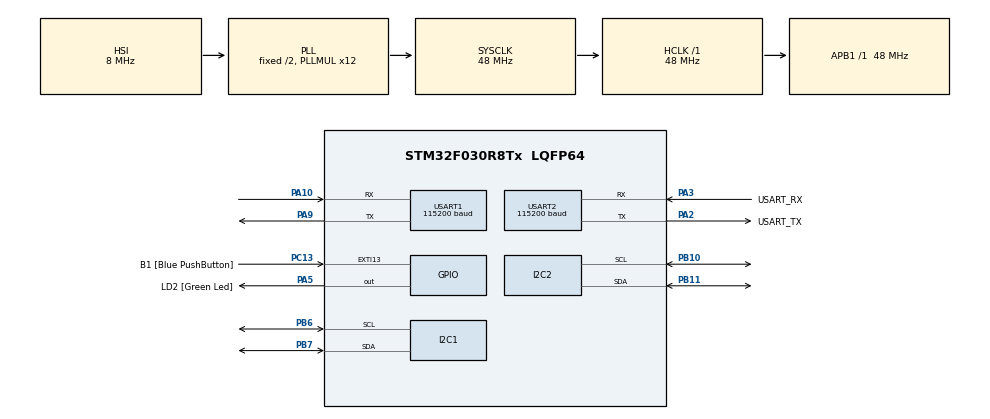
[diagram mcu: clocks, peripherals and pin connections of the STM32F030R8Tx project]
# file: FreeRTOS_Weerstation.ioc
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FREERTOS.Tasks01=sendESPtask,16,300,sendESP,Default,NULL,Dynamic,NULL,NULL;readDataTask,24,128,readData,Default,NULL,Dynamic,NULL,NULL;getESPtimeTask,32,128,getESPtime,Default,NULL,Dynamic,NULL,NULL
FREERTOS.configMINIMAL_STACK_SIZE=0x40
FREERTOS.configTOTAL_HEAP_SIZE=2694
FREERTOS.configUSE_NEWLIB_REENTRANT=0
I2C2.Timing=0x20303E5D
Mcu.Family=STM32F0
Mcu.Name=STM32F030R8Tx
Mcu.Package=LQFP64
NVIC.TIM17_IRQn=true\:3\:0\:false\:false\:true\:false\:false\:true
NVIC.TimeBase=TIM17_IRQn
NVIC.TimeBaseIP=TIM17
PA10.Mode=Asynchronous
PA10.Signal=USART1_RX
PA13.GPIO_Label=TMS
PA13.Mode=Serial_Wire
PA13.Signal=SYS_SWDIO
PA14.GPIO_Label=TCK
PA14.Mode=Serial_Wire
PA14.Signal=SYS_SWCLK
PA2.GPIO_Label=USART_TX
PA2.GPIO_Mode=GPIO_MODE_AF_PP
PA2.GPIO_PuPd=GPIO_NOPULL
PA2.GPIO_Speed=GPIO_SPEED_FREQ_LOW
PA2.Mode=Asynchronous
PA2.Signal=USART2_TX
PA3.GPIO_Label=USART_RX
PA3.GPIO_Mode=GPIO_MODE_AF_PP
PA3.GPIO_PuPd=GPIO_NOPULL
PA3.GPIO_Speed=GPIO_SPEED_FREQ_LOW
PA3.Mode=Asynchronous
PA3.Signal=USART2_RX
PA5.GPIO_Label=LD2 [Green Led]
PA5.GPIO_Mode=GPIO_MODE_OUTPUT_PP
PA5.GPIO_PuPd=GPIO_NOPULL
PA5.GPIO_Speed=GPIO_SPEED_FREQ_LOW
PA5.Signal=GPIO_Output
PA9.Mode=Asynchronous
PA9.Signal=USART1_TX
PB10.Mode=I2C
PB10.Signal=I2C2_SCL
PB11.Mode=I2C
PB11.Signal=I2C2_SDA
PB6.Mode=I2C
PB6.Signal=I2C1_SCL
PB7.Mode=I2C
PB7.Signal=I2C1_SDA
PC13.GPIO_Label=B1 [Blue PushButton]
PC13.GPIO_ModeDefaultEXTI=GPIO_MODE_IT_FALLING
PC13.Signal=GPXTI13
PC14-OSC32_IN.Mode=LSE-External-Oscillator
PC14-OSC32_IN.Signal=RCC_OSC32_IN
PC15-OSC32_OUT.Mode=LSE-External-Oscillator
PC15-OSC32_OUT.Signal=RCC_OSC32_OUT
PF0-OSC_IN.Mode=HSE-External-Oscillator
PF0-OSC_IN.Signal=RCC_OSC_IN
PF1-OSC_OUT.Mode=HSE-External-Oscillator
PF1-OSC_OUT.Signal=RCC_OSC_OUT
ProjectManager.HeapSize=0x200
ProjectManager.StackSize=0x400
ProjectManager.TargetToolchain=STM32CubeIDE
RCC.AHBFreq_Value=48000000
RCC.APB1Freq_Value=48000000
RCC.APB1TimFreq_Value=48000000
RCC.HCLKFreq_Value=48000000
RCC.PLLMUL=RCC_PLL_MUL12
RCC.SYSCLKFreq_VALUE=48000000
RCC.SYSCLKSource=RCC_SYSCLKSOURCE_PLLCLK
USART1.BaudRate=115200
USART1.VirtualMode-Asynchronous=VM_ASYNC
USART2.BaudRate=115200
USART2.VirtualMode-Asynchronous=VM_ASYNC
VP_FREERTOS_VS_CMSIS_V2.Mode=CMSIS_V2
VP_SYS_VS_tim17.Mode=TIM17
board=NUCLEO-F030R8

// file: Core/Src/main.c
/* USER CODE BEGIN Header */
/**
  ******************************************************************************
  * @file           : main.c
  * @brief          : Main program body
  ******************************************************************************
  * @attention
  *
  * <h2><center>&copy; Copyright (c) 2021 STMicroelectronics.
  * All rights reserved.</center></h2>
  *
  * This software component is licensed by ST under BSD 3-Clause license,
  * the "License"; You may not use this file except in compliance with the
  * License. You may obtain a copy of the License at:
  *                        opensource.org/licenses/BSD-3-Clause
  *
  ******************************************************************************
  */
/* USER CODE END Header */
#include "main.h"
#include "cmsis_os.h"

/* USER CODE BEGIN Includes */
#include "string.h"
#include <stdlib.h>
#include <stdio.h>
#include "bme280.h"
/* USER CODE END Includes */

/* USER CODE BEGIN PD */
int intError; // contains live error code
char NTPdateTime[] = ""; // Contains internet time
char rxData[500];
struct bme280_dev dev;
struct bme280_data comp_data;
int8_t rslt;
struct sensorWaarde sensorWaarden[10];
int iCurrentWaarde = 0;
char sTime[20];
/* USER CODE END PD */

I2C_HandleTypeDef hi2c1;
I2C_HandleTypeDef hi2c2;

UART_HandleTypeDef huart1;
UART_HandleTypeDef huart2;

/* Definitions for readDataTask */
osThreadId_t readDataTaskHandle;
const osThreadAttr_t readDataTask_attributes = {
  .name = "readDataTask",
  .stack_size = 128 * 4,
  .priority = (osPriority_t) osPriorityNormal,
};

void SystemClock_Config(void);
static void MX_GPIO_Init(void);
static void MX_USART2_UART_Init(void);
static void MX_I2C1_Init(void);
static void MX_I2C2_Init(void);
static void MX_USART1_UART_Init(void);
void sendESP();
void readData(void *argument);
void getESPtime();
void getESPtime2();
int8_t user_i2c_read(uint8_t id, uint8_t reg_addr, uint8_t *data, uint16_t len);
int8_t user_i2c_write(uint8_t id, uint8_t reg_addr, uint8_t *data, uint16_t len);
void user_delay_ms(uint32_t period);

int main(void)
{

  /* MCU Configuration--------------------------------------------------------*/

  /* Reset of all peripherals, Initializes the Flash interface and the Systick. */
  HAL_Init();

  /* USER CODE BEGIN Init */
  //Reset sensor data.
  //memory allocation
  intError = 0;
  /* ERRORS
   *  1 = ESP-ERROR
   *
   */
  /* USER CODE END Init */

  /* Configure the system clock */
  SystemClock_Config();

  /* Initialize all configured peripherals */
  MX_GPIO_Init();
  MX_USART2_UART_Init();
  MX_I2C1_Init();
  MX_I2C2_Init();
  MX_USART1_UART_Init();
  /* call to function */
  connectESPtoWifi();
  /* Init scheduler */
  osKernelInitialize();

  /* USER CODE BEGIN INITIALIZATIONS FOR THE BME280 */
  dev.dev_id = BME280_I2C_ADDR_SEC;
  dev.intf = BME280_I2C_INTF;
  dev.read = user_i2c_read;
  dev.write = user_i2c_write;
  dev.delay_ms = user_delay_ms;

  rslt = bme280_init(&dev);

  dev.settings.osr_h = BME280_OVERSAMPLING_1X;
  dev.settings.osr_p = BME280_OVERSAMPLING_16X;
  dev.settings.osr_t = BME280_OVERSAMPLING_2X;
  dev.settings.filter = BME280_FILTER_COEFF_16;
  rslt = bme280_set_sensor_settings(BME280_OSR_PRESS_SEL | BME280_OSR_TEMP_SEL | BME280_OSR_HUM_SEL | BME280_FILTER_SEL, &dev);

  rslt = bme280_set_sensor_mode(BME280_FORCED_MODE, &dev);

  /* USER CODE END INITIALIZATIONS FOR THE BME280 */

  /* Create the thread(s) */
  /* creation of readDataTask */
  readDataTaskHandle = osThreadNew(readData, NULL, &readDataTask_attributes);

  /* Start scheduler */
  osKernelStart();

  /* We should never get here as control is now taken by the scheduler */
  /* Infinite loop */
  while (1) {}

}

void SystemClock_Config(void)
{
  RCC_OscInitTypeDef RCC_OscInitStruct = {0};
  RCC_ClkInitTypeDef RCC_ClkInitStruct = {0};
  RCC_PeriphCLKInitTypeDef PeriphClkInit = {0};

  /** Initializes the RCC Oscillators according to the specified parameters
  * in the RCC_OscInitTypeDef structure.
  */
  RCC_OscInitStruct.OscillatorType = RCC_OSCILLATORTYPE_HSI;
  RCC_OscInitStruct.HSIState = RCC_HSI_ON;
  RCC_OscInitStruct.HSICalibrationValue = RCC_HSICALIBRATION_DEFAULT;
  RCC_OscInitStruct.PLL.PLLState = RCC_PLL_ON;
  RCC_OscInitStruct.PLL.PLLSource = RCC_PLLSOURCE_HSI;
  RCC_OscInitStruct.PLL.PLLMUL = RCC_PLL_MUL12;
  RCC_OscInitStruct.PLL.PREDIV = RCC_PREDIV_DIV1;
  if (HAL_RCC_OscConfig(&RCC_OscInitStruct) != HAL_OK)
  {
    Error_Handler();
  }
  /** Initializes the CPU, AHB and APB buses clocks
  */
  RCC_ClkInitStruct.ClockType = RCC_CLOCKTYPE_HCLK|RCC_CLOCKTYPE_SYSCLK
                              |RCC_CLOCKTYPE_PCLK1;
  RCC_ClkInitStruct.SYSCLKSource = RCC_SYSCLKSOURCE_PLLCLK;
  RCC_ClkInitStruct.AHBCLKDivider = RCC_SYSCLK_DIV1;
  RCC_ClkInitStruct.APB1CLKDivider = RCC_HCLK_DIV1;

  if (HAL_RCC_ClockConfig(&RCC_ClkInitStruct, FLASH_LATENCY_1) != HAL_OK)
  {
    Error_Handler();
  }
  PeriphClkInit.PeriphClockSelection = RCC_PERIPHCLK_USART1|RCC_PERIPHCLK_I2C1;
  PeriphClkInit.Usart1ClockSelection = RCC_USART1CLKSOURCE_PCLK1;
  PeriphClkInit.I2c1ClockSelection = RCC_I2C1CLKSOURCE_HSI;
  if (HAL_RCCEx_PeriphCLKConfig(&PeriphClkInit) != HAL_OK)
  {
    Error_Handler();
  }
}

static void MX_I2C1_Init(void)
{

  hi2c1.Instance = I2C1;
  hi2c1.Init.Timing = 0x2000090E;
  hi2c1.Init.Timing = 0x00301D2A;
  hi2c1.Init.OwnAddress1 = 0;
  hi2c1.Init.AddressingMode = I2C_ADDRESSINGMODE_7BIT;
  hi2c1.Init.DualAddressMode = I2C_DUALADDRESS_DISABLE;
  hi2c1.Init.OwnAddress2 = 0;
  hi2c1.Init.OwnAddress2Masks = I2C_OA2_NOMASK;
  hi2c1.Init.GeneralCallMode = I2C_GENERALCALL_DISABLE;
  hi2c1.Init.NoStretchMode = I2C_NOSTRETCH_DISABLE;
  if (HAL_I2C_Init(&hi2c1) != HAL_OK)
  {
    Error_Handler();
  }
  /** Configure Analogue filter
  */
  if (HAL_I2CEx_ConfigAnalogFilter(&hi2c1, I2C_ANALOGFILTER_ENABLE) != HAL_OK)
  {
    Error_Handler();
  }
  /** Configure Digital filter
  */
  if (HAL_I2CEx_ConfigDigitalFilter(&hi2c1, 0) != HAL_OK)
  {
    Error_Handler();
  }

}

static void MX_I2C2_Init(void)
{

  hi2c2.Instance = I2C2;
  hi2c2.Init.Timing = 0x20303E5D;
  hi2c2.Init.OwnAddress1 = 0;
  hi2c2.Init.AddressingMode = I2C_ADDRESSINGMODE_7BIT;
  hi2c2.Init.DualAddressMode = I2C_DUALADDRESS_DISABLE;
  hi2c2.Init.OwnAddress2 = 0;
  hi2c2.Init.OwnAddress2Masks = I2C_OA2_NOMASK;
  hi2c2.Init.GeneralCallMode = I2C_GENERALCALL_DISABLE;
  hi2c2.Init.NoStretchMode = I2C_NOSTRETCH_DISABLE;
  if (HAL_I2C_Init(&hi2c2) != HAL_OK)
  {
    Error_Handler();
  }
  /** Configure Analogue filter
  */
  if (HAL_I2CEx_ConfigAnalogFilter(&hi2c2, I2C_ANALOGFILTER_ENABLE) != HAL_OK)
  {
    Error_Handler();
  }
  /** Configure Digital filter
  */
  if (HAL_I2CEx_ConfigDigitalFilter(&hi2c2, 0) != HAL_OK)
  {
    Error_Handler();
  }

}

static void MX_USART1_UART_Init(void)
{

  huart1.Instance = USART1;
  huart1.Init.BaudRate = 115200;
  huart1.Init.WordLength = UART_WORDLENGTH_8B;
  huart1.Init.StopBits = UART_STOPBITS_1;
  huart1.Init.Parity = UART_PARITY_NONE;
  huart1.Init.Mode = UART_MODE_TX_RX;
  huart1.Init.HwFlowCtl = UART_HWCONTROL_NONE;
  huart1.Init.OverSampling = UART_OVERSAMPLING_16;
  huart1.Init.OneBitSampling = UART_ONE_BIT_SAMPLE_DISABLE;
  huart1.AdvancedInit.AdvFeatureInit = UART_ADVFEATURE_NO_INIT;
  if (HAL_UART_Init(&huart1) != HAL_OK)
  {
    Error_Handler();
  }

}

static void MX_USART2_UART_Init(void)
{

  huart2.Instance = USART2;
  huart2.Init.BaudRate = 115200;
  huart2.Init.WordLength = UART_WORDLENGTH_8B;
  huart2.Init.StopBits = UART_STOPBITS_1;
  huart2.Init.Parity = UART_PARITY_NONE;
  huart2.Init.Mode = UART_MODE_TX_RX;
  huart2.Init.HwFlowCtl = UART_HWCONTROL_NONE;
  huart2.Init.OverSampling = UART_OVERSAMPLING_16;
  huart2.Init.OneBitSampling = UART_ONE_BIT_SAMPLE_DISABLE;
  huart2.AdvancedInit.AdvFeatureInit = UART_ADVFEATURE_NO_INIT;
  if (HAL_UART_Init(&huart2) != HAL_OK)
  {
    Error_Handler();
  }

}

static void MX_GPIO_Init(void)
{
  GPIO_InitTypeDef GPIO_InitStruct = {0};

  /* GPIO Ports Clock Enable */
  __HAL_RCC_GPIOC_CLK_ENABLE();
  __HAL_RCC_GPIOF_CLK_ENABLE();
  __HAL_RCC_GPIOA_CLK_ENABLE();
  __HAL_RCC_GPIOB_CLK_ENABLE();

  /*Configure GPIO pin Output Level */
  HAL_GPIO_WritePin(LD2_GPIO_Port, LD2_Pin, GPIO_PIN_RESET);

  /*Configure GPIO pin : B1_Pin */
  GPIO_InitStruct.Pin = B1_Pin;
  GPIO_InitStruct.Mode = GPIO_MODE_IT_FALLING;
  GPIO_InitStruct.Pull = GPIO_NOPULL;
  HAL_GPIO_Init(B1_GPIO_Port, &GPIO_InitStruct);

  /*Configure GPIO pin : LD2_Pin */
  GPIO_InitStruct.Pin = LD2_Pin;
  GPIO_InitStruct.Mode = GPIO_MODE_OUTPUT_PP;
  GPIO_InitStruct.Pull = GPIO_NOPULL;
  GPIO_InitStruct.Speed = GPIO_SPEED_FREQ_LOW;
  HAL_GPIO_Init(LD2_GPIO_Port, &GPIO_InitStruct);

}

/* USER CODE BEGIN 4 */
void debugPrint(UART_HandleTypeDef *huart, char _out[]){
 HAL_UART_Transmit(huart, (uint8_t *) _out, strlen(_out), 10);
}

void debugPrintln(UART_HandleTypeDef *huart, char _out[]){
 HAL_UART_Transmit(huart, (uint8_t *) _out, strlen(_out), 100);
 char newline[2] = "\r\n";
 HAL_UART_Transmit(huart, (uint8_t *) newline, 2, 100);
}

char *sendToESP(char *data, int iReceiveTimeout)
{
	char startDelimiter[] = "Start Response\n";
	char endDelimiter[] = "\nEnd Response\n";
	char aLocalBuffer[10];
	int iIndexIntoRxData = 0;
	memset(rxData, 0, 500);
	debugPrintln(&huart2, data); //Print end result AT-command for debugging
	HAL_UART_Transmit(&huart1, (uint8_t *) data, strlen(data), 100); //Send AT-command
	do
	{
		memset(aLocalBuffer, 0, 10);
		HAL_UART_Receive(&huart1, (uint8_t *)aLocalBuffer, 10, iReceiveTimeout); //Get response (like OK or ERROR)
		if (iIndexIntoRxData < 50)
		{
			memcpy(&rxData[iIndexIntoRxData*10], aLocalBuffer, 10);
			iIndexIntoRxData++;
		}
	}
	while(strcmp(aLocalBuffer, "\0\0\0\0\0\0\0\0\0\0") != 0);

	HAL_UART_Transmit(&huart2, (uint8_t*)startDelimiter, strlen(startDelimiter) , 100); //Print response for debugging
	HAL_UART_Transmit(&huart2, (uint8_t*)rxData, strlen(rxData) , 100); //Print response for debugging
	HAL_UART_Transmit(&huart2, (uint8_t*)endDelimiter, strlen(endDelimiter) , 100); //Print response for debugging
    return rxData;

}

int connectESPtoWifi()
{

	char resetESP[] = "AT+RST\r\n";
	char disableEcho[] = "ATE0\r\n";
	char checkWifiConnected[] = "AT+CWJAP?\r\n";
	char setWifiMode[] = "AT+CWMODE=1\r\n";
	//char connectToAP[] = "AT+CWJAP=\"Ziggo2257742\",\"w8woord\"\r\n";
	//char connectToAP[] = "AT+CWJAP=\"Hellbender2\",\"w8woord\"\r\n";
	char connectToAP[] = "AT+CWJAP=\"ONEPLUS_co_aprcmq\",\"12345678\"\r\n";

	sendToESP(resetESP, 10000);
	sendToESP(disableEcho, 500);

	//Check if connected to Wifi
	sendToESP(checkWifiConnected, 500);
	if (strstr(rxData, "No AP") != NULL)
	{
		//Check if there was an error
		sendToESP(setWifiMode, 500);
		if (strstr(rxData, "ERROR") != NULL)
		{
			intError = 1; //change error code to '1' for ESP related error
			debugPrintln(&huart2, "ERROR1"); // Message for debugging
		}
		//Check if there was an error
		sendToESP(connectToAP, 10000);
		if (strstr(rxData, "ERROR") != NULL)
		{
			intError = 1; //change error code to '1' for ESP related error
			debugPrintln(&huart2, "ERROR1"); // Message for debugging
		}
		else
		{
			debugPrintln(&huart2, rxData); // Message for debugging
		}
		user_delay_ms(5000);
	}
	return 1;
}
/* USER CODE END 4 */

void getESPtime2()
{
  /* USER CODE BEGIN getESPtime2 */

	char initCon[] = "AT+CIPSTART=\"TCP\",\"server03.hammer-tech.eu\",80\r\n";
	char initSize[] = "AT+CIPSEND=99\r\n";
	char data[] = "GET http://server03.hammer-tech.eu/weerstation/time.php HTTP/1.1\r\nHost: server03.hammer-tech.eu\r\n\r\n";
	char closeCon[] = "AT+CIPCLOSE\r\n";

	sendToESP(initCon, 500);
	//Check if there was an error
	if (strstr(rxData, "ERROR") != NULL)
	{
		intError = 1; //change error code to '1' for ESP related error
		debugPrintln(&huart2, "ERROR1"); // Message for debugging
	}
	sendToESP(initSize, 500);
	//Check if there was an error
	if (strstr(rxData, "ERROR") != NULL)
	{
		intError = 1; //change error code to '1' for ESP related error
		debugPrintln(&huart2, "ERROR1"); // Message for debugging
	}
	sendToESP(data, 500);
	//Check if there was an error
	if (strstr(rxData, "ERROR") != NULL)
	{
		intError = 1; //change error code to '1' for ESP related error
		debugPrintln(&huart2, "ERROR1"); // Message for debugging
	}
	else
	{
		// 100 extra because we know we skipped the header then
		char sTempTime[10];
		int iIndex = 0;
		memset(sTime, 0, 20);
		char* iAddress = strstr(rxData + 100, "\r\n\r\n");
		strcpy(sTempTime, iAddress + 15);

		for (int iCounter = 0; iCounter < 10; iCounter++)
		{
			if (sTempTime[iCounter] != ':')
			{
				sTime[iIndex++] = sTempTime[iCounter];
			}
			else
			{
				sTime[iIndex++] = '%';
				sTime[iIndex++] = '3';
				sTime[iIndex++] = 'A';
			}
		}
	}

	sendToESP(closeCon, 500);

  /* USER CODE END getESPtime2 */
}

void sendESP()
{
	/* USER CODE BEGIN 5 */
	debugPrintln(&huart2, "sendESP FUNC \n"); // Message for debugging
	/* Infinite loop */
	//Local var. declaration.
	char oData[70];
	sprintf(oData, "temperature=%d&humidity=%d&pressure=%d&time=%s&errors=%d\r\n", sensorWaarden[iCurrentWaarde].sTemp, sensorWaarden[iCurrentWaarde].sHum, sensorWaarden[iCurrentWaarde].sPress, sensorWaarden[iCurrentWaarde].sTime, 1);
	char data[180];
	sprintf(data, "POST http://server03.hammer-tech.eu/weerstation/index.php HTTP/1.1\r\nHost: server03.hammer-tech.eu\r\nContent-Type: application/x-www-form-urlencoded\r\nContent-Length: %i\r\n\r\n", strlen(oData)-2);

	char initCon[] = "AT+CIPSTART=\"TCP\",\"server03.hammer-tech.eu\",80\r\n";
	char initSize[20];
	sprintf(initSize, "AT+CIPSEND=%i\r\n", strlen(oData) + strlen(data));
	char closeCon[] = "AT+CIPCLOSE\r\n";

	if(sensorWaarden[iCurrentWaarde].sTemp != 0 && sensorWaarden[iCurrentWaarde].sHum != 0 && sensorWaarden[iCurrentWaarde].sPress != 0 /*&& time[i][0-15] != 0*/)
	{
		sendToESP(initCon, 500);
		//Check if there was an error
		if (strstr(rxData, "ERROR") != NULL)
		{
			intError = 1; //change error code to '1' for ESP related error
			debugPrintln(&huart2, "ERROR1"); // Message for debugging
		}
		sendToESP(initSize, 500);
		//Check if there was an error
		if (strstr(rxData, "ERROR") != NULL)
		{
			intError = 2; //change error code to '1' for ESP related error
			debugPrintln(&huart2, "ERROR2"); // Message for debugging
		}
		sendToESP(data, 500);
		//Check if there was an error
		if (strstr(rxData, "ERROR") != NULL)
		{
			intError = 3; //change error code to '1' for ESP related error
			debugPrintln(&huart2, "ERROR3"); // Message for debugging
		}
		sendToESP(oData, 500);
		//Check if there was an error
		if (strstr(rxData, "ERROR") != NULL)
		{
			intError = 4; //change error code to '1' for ESP related error
			debugPrintln(&huart2, "ERROR4"); // Message for debugging
		}
		sendToESP(closeCon, 500);
		//Check if there was an error
		if (strstr(rxData, "ERROR") != NULL)
		{
			intError = 5; //change error code to '1' for ESP related error
			debugPrintln(&huart2, "ERROR5"); // Message for debugging
		}

		iCurrentWaarde++;
		if (iCurrentWaarde == 10)
			iCurrentWaarde = 0;
	}
  /* USER CODE END 5 */
}

/* USER CODE BEGIN Header_readData */
/**
* @brief Function implementing the readDataTask thread.
* @param argument: Not used
* @retval None
*/

int8_t user_i2c_read(uint8_t id, uint8_t reg_addr, uint8_t *data, uint16_t len)
{
  if(HAL_I2C_Master_Transmit(&hi2c1, (id << 1), &reg_addr, 1, 10) != HAL_OK) return -1;
  if(HAL_I2C_Master_Receive(&hi2c1, (id << 1) | 0x01, data, len, 10) != HAL_OK) return -1;

  return 0;
}

void user_delay_ms(uint32_t period)
{
  HAL_Delay(period);
}

int8_t user_i2c_write(uint8_t id, uint8_t reg_addr, uint8_t *data, uint16_t len)
{
  int8_t *buf;
  buf = malloc(len +1);
  buf[0] = reg_addr;
  memcpy(buf +1, data, len);

  if(HAL_I2C_Master_Transmit(&hi2c1, (id << 1), (uint8_t*)buf, len + 1, HAL_MAX_DELAY) != HAL_OK) return -1;

  free(buf);
  return 0;
}
/* USER CODE END Header_readData */

void readData(void *argument)
{
  /* USER CODE BEGIN readData */

	for(;;)
	{
		getESPtime2();
		debugPrintln(&huart2, "readData FUNC \n"); // Message for debugging

		dev.settings.osr_h = BME280_OVERSAMPLING_1X;
		dev.settings.osr_p = BME280_OVERSAMPLING_16X;
		dev.settings.osr_t = BME280_OVERSAMPLING_2X;
		dev.settings.filter = BME280_FILTER_COEFF_16;
		rslt = bme280_set_sensor_settings(BME280_OSR_PRESS_SEL | BME280_OSR_TEMP_SEL | BME280_OSR_HUM_SEL | BME280_FILTER_SEL, &dev);
		rslt = bme280_set_sensor_mode(BME280_FORCED_MODE, &dev);

		user_delay_ms(250);

		rslt = bme280_get_sensor_data(BME280_ALL, &comp_data, &dev);
		if(rslt == BME280_OK)
		{
			sensorWaarden[iCurrentWaarde].sTemp = comp_data.intTemp / 100.0;      /* °C  */
			sensorWaarden[iCurrentWaarde].sHum = comp_data.intHum / 1024.0;           /* %   */
			sensorWaarden[iCurrentWaarde].sPress = comp_data.intPress / 10000.0;          /* hPa */
			sprintf(sensorWaarden[iCurrentWaarde].sTime, "%s", sTime);
			sendESP();
		}
		user_delay_ms(60000);
  }
  /* USER CODE END readData */
}

void HAL_TIM_PeriodElapsedCallback(TIM_HandleTypeDef *htim)
{

  if (htim->Instance == TIM17) {
    HAL_IncTick();
  }

}

void Error_Handler(void)
{
  /* User can add his own implementation to report the HAL error return state */
  __disable_irq();
  while (1) {}

}

/************************ (C) COPYRIGHT STMicroelectronics *****END OF FILE****/
